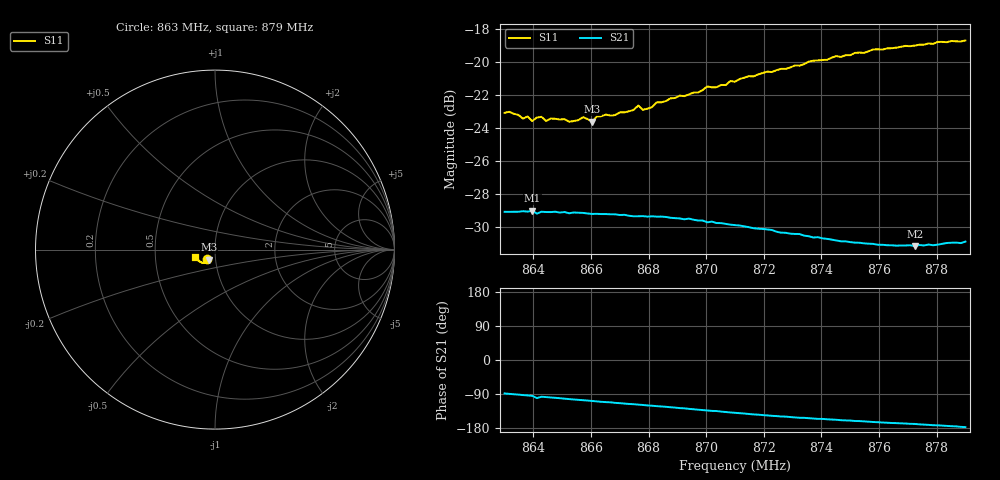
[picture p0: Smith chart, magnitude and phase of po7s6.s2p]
# HZ S RI R 50
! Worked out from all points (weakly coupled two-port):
!   101 points, 863 MHz to 879 MHz, reference 50 ohm
!   highest |S21| = -29.04 dB at 863.96 MHz (marker M1); lowest = -31.2 dB at 877.24 MHz (marker M2)
!   lowest |S11| = -23.6 dB at 866.04 MHz (marker M3), VSWR 1.14, Z = 46.4 - j5.27 ohm
!   |S11| at or under -10 dB: start of sweep to end of sweep
!   S12 and S22 are empty: the file has one direction only
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8.63e8  -0.044 -0.0547  0.0011 -0.035  0 0  0 0
8.6364e8  -0.041 -0.0534  -0.00159 -0.0352  0 0  0 0
8.638e8  -0.042 -0.054  -0.00212 -0.035  0 0  0 0
8.6396e8  -0.0404 -0.0525  -0.00282 -0.0352  0 0  0 0
8.6428e8  -0.0394 -0.0557  -0.00424 -0.0348  0 0  0 0
8.6444e8  -0.0381 -0.0542  -0.00478 -0.0347  0 0  0 0
8.646e8  -0.0384 -0.0553  -0.00538 -0.0346  0 0  0 0
8.6524e8  -0.0359 -0.0553  -0.00788 -0.0338  0 0  0 0
8.6572e8  -0.0351 -0.0583  -0.00962 -0.0334  0 0  0 0
8.6604e8  -0.0339 -0.0565  -0.0107 -0.0328  0 0  0 0
8.662e8  -0.0355 -0.0584  -0.0114 -0.0326  0 0  0 0
8.6684e8  -0.0341 -0.0601  -0.0135 -0.0317  0 0  0 0
8.6764e8  -0.036 -0.0644  -0.0158 -0.0301  0 0  0 0
8.678e8  -0.035 -0.0625  -0.0163 -0.0298  0 0  0 0
8.6844e8  -0.0365 -0.0661  -0.0183 -0.0285  0 0  0 0
8.6972e8  -0.0411 -0.0698  -0.0217 -0.0248  0 0  0 0
8.7004e8  -0.0435 -0.0724  -0.0223 -0.0237  0 0  0 0
8.71e8  -0.0474 -0.0732  -0.0242 -0.0208  0 0  0 0
8.7372e8  -0.0681 -0.0747  -0.0264 -0.0126  0 0  0 0
8.7644e8  -0.092 -0.0609  -0.0269 -0.0066  0 0  0 0
8.7724e8  -0.0977 -0.0556  -0.027 -0.00539  0 0  0 0
8.79e8  -0.1096 -0.0396  -0.0284 -0.00145  0 0  0 0
